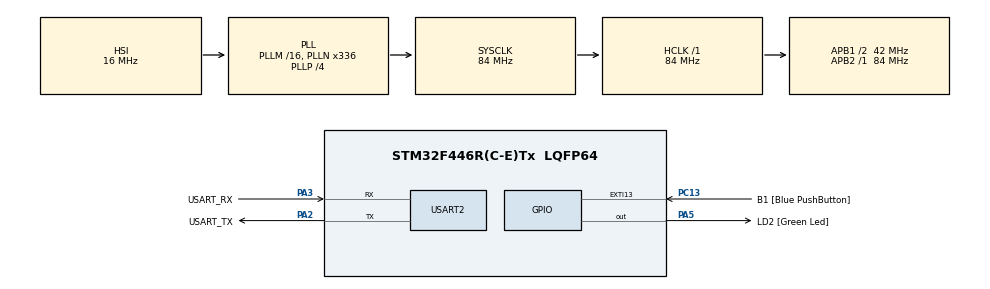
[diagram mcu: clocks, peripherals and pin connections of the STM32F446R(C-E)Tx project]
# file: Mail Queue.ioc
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FREERTOS.Queues01=myQueue,256,uint16_t,0,Dynamic,NULL,NULL
FREERTOS.Tasks01=sender1,0,128,sender1Task,Default,NULL,Dynamic,NULL,NULL;receiver,-3,128,receiverTask,Default,NULL,Dynamic,NULL,NULL
Mcu.Family=STM32F4
Mcu.Name=STM32F446R(C-E)Tx
Mcu.Package=LQFP64
NVIC.PriorityGroup=NVIC_PRIORITYGROUP_4
NVIC.TIM6_DAC_IRQn=true\:15\:0\:false\:false\:true\:false\:false\:true\:true
NVIC.TimeBase=TIM6_DAC_IRQn
NVIC.TimeBaseIP=TIM6
PA13.GPIO_Label=TMS
PA13.Mode=Serial_Wire
PA13.Signal=SYS_JTMS-SWDIO
PA14.GPIO_Label=TCK
PA14.Mode=Serial_Wire
PA14.Signal=SYS_JTCK-SWCLK
PA2.GPIO_Label=USART_TX
PA2.Mode=Asynchronous
PA2.Signal=USART2_TX
PA3.GPIO_Label=USART_RX
PA3.Mode=Asynchronous
PA3.Signal=USART2_RX
PA5.GPIO_Label=LD2 [Green Led]
PA5.Signal=GPIO_Output
PB3.GPIO_Label=SWO
PB3.Signal=SYS_JTDO-SWO
PC13.GPIO_Label=B1 [Blue PushButton]
PC13.GPIO_ModeDefaultEXTI=GPIO_MODE_IT_FALLING
PC13.Signal=GPXTI13
PC14-OSC32_IN.Mode=LSE-External-Oscillator
PC14-OSC32_IN.Signal=RCC_OSC32_IN
PC15-OSC32_OUT.Mode=LSE-External-Oscillator
PC15-OSC32_OUT.Signal=RCC_OSC32_OUT
PH0-OSC_IN.Mode=HSE-External-Oscillator
PH0-OSC_IN.Signal=RCC_OSC_IN
PH1-OSC_OUT.Mode=HSE-External-Oscillator
PH1-OSC_OUT.Signal=RCC_OSC_OUT
ProjectManager.HeapSize=0x200
ProjectManager.StackSize=0x400
ProjectManager.TargetToolchain=STM32CubeIDE
RCC.48MHZClocksFreq_Value=84000000
RCC.AHBFreq_Value=84000000
RCC.APB1CLKDivider=RCC_HCLK_DIV2
RCC.APB1Freq_Value=42000000
RCC.APB1TimFreq_Value=84000000
RCC.APB2Freq_Value=84000000
RCC.APB2TimFreq_Value=84000000
RCC.CortexFreq_Value=84000000
RCC.FLatency-AdvancedSettings=FLASH_LATENCY_2
RCC.HCLKFreq_Value=84000000
RCC.HSE_VALUE=8000000
RCC.HSI_VALUE=16000000
RCC.PLLN=336
RCC.PLLP=RCC_PLLP_DIV4
RCC.SYSCLKFreq_VALUE=84000000
RCC.SYSCLKSource=RCC_SYSCLKSOURCE_PLLCLK
RCC.USBFreq_Value=168000000
RCC.VCOOutputFreq_Value=336000000
USART2.VirtualMode=VM_ASYNC
VP_FREERTOS_VS_CMSIS_V1.Mode=CMSIS_V1
VP_SYS_VS_tim6.Mode=TIM6
board=NUCLEO-F446RE

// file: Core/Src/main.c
/* USER CODE BEGIN Header */
/**
  ******************************************************************************
  * @file           : main.c
  * @brief          : Main program body
  ******************************************************************************
  * @attention
  *
  * Copyright (c) 2024 STMicroelectronics.
  * All rights reserved.
  *
  * This software is licensed under terms that can be found in the LICENSE file
  * in the root directory of this software component.
  * If no LICENSE file comes with this software, it is provided AS-IS.
  *
  ******************************************************************************
  */
/* USER CODE END Header */
#include "main.h"
#include "cmsis_os.h"

/* USER CODE BEGIN Includes */
#include "stdio.h"
/* USER CODE END Includes */

UART_HandleTypeDef huart2;

osThreadId sender1Handle;
osThreadId receiverHandle;
osMessageQId myQueueHandle;

void SystemClock_Config(void);
static void MX_GPIO_Init(void);
static void MX_USART2_UART_Init(void);
void sender1Task(void const * argument);
void receiverTask(void const * argument);

/* USER CODE BEGIN PFP */
#ifdef __GNUC__
#define PUTCHAR_PROTOTYPE int __io_putchar(int ch)
#else
#define PUTCHAR_PROTOTYPE int fputc(int ch, FILE *f)
#endif
PUTCHAR_PROTOTYPE
{
  HAL_UART_Transmit(&huart2, (uint8_t *)&ch, 1, HAL_MAX_DELAY);
  return ch;
}
/* USER CODE END PFP */

/* USER CODE BEGIN 0 */
	#define COUNTER_MAX 256
	typedef struct
	{
		uint8_t buffer[COUNTER_MAX];
		uint32_t counter;
	} MailStruct;

	osMailQId mailHandle; // Mail ID identifies the mail queue (pointer to a mail queue control block)
/* USER CODE END 0 */

int main(void)
{
  /* USER CODE BEGIN 1 */
	osMailQDef(mailQueue, 16, MailStruct);// Define Mail Queue -> (name of the queue, maximum number of messages in queue, data type of a single message element)
	mailHandle = osMailCreate(osMailQ(mailQueue), NULL); // create Mail Queue -> (reference to the mail queue definition obtain with osMailQ, thread ID or NULL)
  /* USER CODE END 1 */

  /* MCU Configuration--------------------------------------------------------*/

  /* Reset of all peripherals, Initializes the Flash interface and the Systick. */
  HAL_Init();

  /* Configure the system clock */
  SystemClock_Config();

  /* Initialize all configured peripherals */
  MX_GPIO_Init();
  MX_USART2_UART_Init();

  /* Create the queue(s) */
  /* definition and creation of myQueue */
  osMessageQDef(myQueue, 256, uint16_t);
  myQueueHandle = osMessageCreate(osMessageQ(myQueue), NULL);

  /* Create the thread(s) */
  /* definition and creation of sender1 */
  osThreadDef(sender1, sender1Task, osPriorityNormal, 0, 128);
  sender1Handle = osThreadCreate(osThread(sender1), NULL);

  /* definition and creation of receiver */
  osThreadDef(receiver, receiverTask, osPriorityIdle, 0, 128);
  receiverHandle = osThreadCreate(osThread(receiver), NULL);

  /* Start scheduler */
  osKernelStart();

  /* We should never get here as control is now taken by the scheduler */
  /* Infinite loop */
  while (1)
  {

  }
}

void SystemClock_Config(void)
{
  RCC_OscInitTypeDef RCC_OscInitStruct = {0};
  RCC_ClkInitTypeDef RCC_ClkInitStruct = {0};

  /** Configure the main internal regulator output voltage
  */
  __HAL_RCC_PWR_CLK_ENABLE();
  __HAL_PWR_VOLTAGESCALING_CONFIG(PWR_REGULATOR_VOLTAGE_SCALE3);

  /** Initializes the RCC Oscillators according to the specified parameters
  * in the RCC_OscInitTypeDef structure.
  */
  RCC_OscInitStruct.OscillatorType = RCC_OSCILLATORTYPE_HSI;
  RCC_OscInitStruct.HSIState = RCC_HSI_ON;
  RCC_OscInitStruct.HSICalibrationValue = RCC_HSICALIBRATION_DEFAULT;
  RCC_OscInitStruct.PLL.PLLState = RCC_PLL_ON;
  RCC_OscInitStruct.PLL.PLLSource = RCC_PLLSOURCE_HSI;
  RCC_OscInitStruct.PLL.PLLM = 16;
  RCC_OscInitStruct.PLL.PLLN = 336;
  RCC_OscInitStruct.PLL.PLLP = RCC_PLLP_DIV4;
  RCC_OscInitStruct.PLL.PLLQ = 2;
  RCC_OscInitStruct.PLL.PLLR = 2;
  if (HAL_RCC_OscConfig(&RCC_OscInitStruct) != HAL_OK)
  {
    Error_Handler();
  }

  /** Initializes the CPU, AHB and APB buses clocks
  */
  RCC_ClkInitStruct.ClockType = RCC_CLOCKTYPE_HCLK|RCC_CLOCKTYPE_SYSCLK
                              |RCC_CLOCKTYPE_PCLK1|RCC_CLOCKTYPE_PCLK2;
  RCC_ClkInitStruct.SYSCLKSource = RCC_SYSCLKSOURCE_PLLCLK;
  RCC_ClkInitStruct.AHBCLKDivider = RCC_SYSCLK_DIV1;
  RCC_ClkInitStruct.APB1CLKDivider = RCC_HCLK_DIV2;
  RCC_ClkInitStruct.APB2CLKDivider = RCC_HCLK_DIV1;

  if (HAL_RCC_ClockConfig(&RCC_ClkInitStruct, FLASH_LATENCY_2) != HAL_OK)
  {
    Error_Handler();
  }
}

static void MX_USART2_UART_Init(void)
{

  huart2.Instance = USART2;
  huart2.Init.BaudRate = 115200;
  huart2.Init.WordLength = UART_WORDLENGTH_8B;
  huart2.Init.StopBits = UART_STOPBITS_1;
  huart2.Init.Parity = UART_PARITY_NONE;
  huart2.Init.Mode = UART_MODE_TX_RX;
  huart2.Init.HwFlowCtl = UART_HWCONTROL_NONE;
  huart2.Init.OverSampling = UART_OVERSAMPLING_16;
  if (HAL_UART_Init(&huart2) != HAL_OK)
  {
    Error_Handler();
  }

}

static void MX_GPIO_Init(void)
{
  GPIO_InitTypeDef GPIO_InitStruct = {0};

  /* GPIO Ports Clock Enable */
  __HAL_RCC_GPIOC_CLK_ENABLE();
  __HAL_RCC_GPIOH_CLK_ENABLE();
  __HAL_RCC_GPIOA_CLK_ENABLE();
  __HAL_RCC_GPIOB_CLK_ENABLE();

  /*Configure GPIO pin Output Level */
  HAL_GPIO_WritePin(LD2_GPIO_Port, LD2_Pin, GPIO_PIN_RESET);

  /*Configure GPIO pin : B1_Pin */
  GPIO_InitStruct.Pin = B1_Pin;
  GPIO_InitStruct.Mode = GPIO_MODE_IT_FALLING;
  GPIO_InitStruct.Pull = GPIO_NOPULL;
  HAL_GPIO_Init(B1_GPIO_Port, &GPIO_InitStruct);

  /*Configure GPIO pin : LD2_Pin */
  GPIO_InitStruct.Pin = LD2_Pin;
  GPIO_InitStruct.Mode = GPIO_MODE_OUTPUT_PP;
  GPIO_InitStruct.Pull = GPIO_NOPULL;
  GPIO_InitStruct.Speed = GPIO_SPEED_FREQ_LOW;
  HAL_GPIO_Init(LD2_GPIO_Port, &GPIO_InitStruct);

}

void sender1Task(void const * argument)
{
  /* USER CODE BEGIN 5 */
	MailStruct mailData;
	for (int i = 0; i < COUNTER_MAX; i++){
		mailData.buffer[i] = i;
	}
  /* Infinite loop */
  for(;;)
  {
	  MailStruct *p = osMailAlloc(mailHandle, osWaitForever);
	  p = &mailData;
	  osMailPut(mailHandle, p);
	  osDelay(100);
  }
  /* USER CODE END 5 */
}

void receiverTask(void const * argument)
{
  /* USER CODE BEGIN receiverTask */
	static int i = 0;
  /* Infinite loop */
  for(;;)
  {
	  osEvent event = osMailGet(mailHandle, osWaitForever);
	  if (event.status == osEventMail){
		  MailStruct *p = (MailStruct*)event.value.p;
		  printf("%d \r\n", p->buffer[i]);
		  if ((p->buffer[i] & 0x01) == 0){ // even
			  HAL_GPIO_WritePin(LD2_GPIO_Port, LD2_Pin, GPIO_PIN_RESET);
		  } else { // odd
			  HAL_GPIO_WritePin(LD2_GPIO_Port, LD2_Pin, GPIO_PIN_SET);
		  }
		  osMailFree(mailHandle, p);
		  if (++i >= COUNTER_MAX){
			  printf("END BUFFER\r\n");
			  i = 0;
		  }
	  }
	  osDelay(1);
  }
  /* USER CODE END receiverTask */
}

void HAL_TIM_PeriodElapsedCallback(TIM_HandleTypeDef *htim)
{
  if (htim->Instance == TIM6) {
    HAL_IncTick();
  }
}

void Error_Handler(void)
{
  __disable_irq();
  while (1)
  {
  }
}
